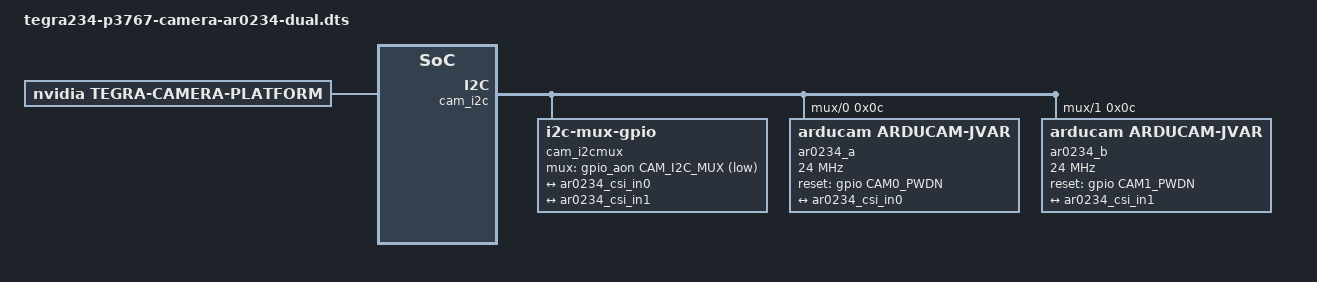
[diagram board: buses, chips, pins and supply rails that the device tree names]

/dts-v1/;
/plugin/;


#include <dt-bindings/clock/tegra234-clock.h>
#include <dt-bindings/gpio/tegra234-gpio.h>
#include <dt-bindings/gpio/gpio.h>
#include <dt-bindings/tegra234-p3767-0000-common.h>


#define CAM0_RST    TEGRA234_MAIN_GPIO(H, 3)
#define CAM0_PWDN   TEGRA234_MAIN_GPIO(H, 6)
#define CAM1_RST	TEGRA234_MAIN_GPIO(AC, 1)
#define CAM1_PWDN   TEGRA234_MAIN_GPIO(AC, 0)
#define CAM_I2C_MUX TEGRA234_AON_GPIO(CC, 3)

/ {
    overlay-name = "Dual Arducam AR0234";
    compatible = JETSON_COMPATIBLE_P3768;

    fragment@0 {
        target-path = "/";
        __overlay__ {
            tegra-capture-vi {
                num-channels = <2>;
                ports {
                    #address-cells = <1>;
                    #size-cells = <0>;
                    port@0 {
                        reg = <0>;
                        ar0234_vi_in0: endpoint {
                            port-index = <1>;
                            bus-width = <2>;
                            remote-endpoint = <&ar0234_csi_out0>;
                        };
                    };
                    port@1 {
                        reg = <1>;
                        ar0234_vi_in1: endpoint {
                            port-index = <2>;
                            bus-width = <2>;
                            remote-endpoint = <&ar0234_csi_out1>;
                        };
                    };
                };
            };

            tegra-camera-platform {
                compatible = "nvidia, tegra-camera-platform";
                modules {
                    module0 {
                        badge = "ar0234_front";
                        position = "front";
                        orientation = "0";
                        drivernode0 {
                            pcl_id = "v4l2_sensor";
                            sysfs-device-tree = "/sys/firmware/devicetree/base/bus@0/cam_i2cmux/i2c@0/ar0234_a@0c";
                        };
                    };
                    module1 {
                        badge = "ar0234_rear";
                        position = "rear";
                        orientation = "0";
                        drivernode0 {
                            pcl_id = "v4l2_sensor";
                            sysfs-device-tree = "/sys/firmware/devicetree/base/bus@0/cam_i2cmux/i2c@1/ar0234_b@0c";
                        };
                    };
                };
            };

            bus@0 {
                host1x@13e00000 {
                    nvcsi@15a00000 {
                        num-channels = <2>;
                        #address-cells = <1>;
                        #size-cells = <0>;
                        channel@0 {
                            reg = <0>;
                            ports {
                                #address-cells = <1>;
                                #size-cells = <0>;
                                port@0 {
                                    reg = <0>;
                                    ar0234_csi_in0: endpoint@0 {
                                        port-index = <1>;
                                        bus-width = <2>;
                                        remote-endpoint = <&ar0234_out0>;
                                    };
                                };
                                port@1 {
                                    reg = <1>;
                                    ar0234_csi_out0: endpoint@1 {
                                        remote-endpoint = <&ar0234_vi_in0>;
                                    };
                                };
                            };
                        };
                        channel@1 {
                            reg = <1>;
                            ports {
                                #address-cells = <1>;
                                #size-cells = <0>;
                                port@0 {
                                    reg = <0>;
                                    ar0234_csi_in1: endpoint@2 {
                                        port-index = <2>;
                                        bus-width = <2>;
                                        remote-endpoint = <&ar0234_out1>;
                                    };
                                };
                                port@1 {
                                    reg = <1>;
                                    ar0234_csi_out1: endpoint@3 {
                                        remote-endpoint = <&ar0234_vi_in1>;
                                    };
                                };
                            };
                        };
                    };
                };

                i2c@3180000 {
                    clock-frequency = <1000000>;
                };

                cam_i2cmux {
                    status = "okay";
                    compatible = "i2c-mux-gpio";
                    #address-cells = <1>;
                    #size-cells = <0>;
                    mux-gpios = <&gpio_aon CAM_I2C_MUX GPIO_ACTIVE_LOW>;
                    i2c-parent = <&cam_i2c>;
                    i2c@0 {
                        status = "okay";
                        reg = <0>;
                        #address-cells = <1>;
                        #size-cells = <0>;
                        ar0234_a: ar0234_a@0c {
                            compatible = "arducam,arducam-jvar";
                            reg = <0x0c>;
                            status = "okay";
                            channel = "0";
                            sensor_model = "arducam-jvar";
                            devnode = "video0";

                            physical_w = "5.78";
                            physical_h = "3.62";

                            reset-gpios = <&gpio CAM0_PWDN GPIO_ACTIVE_HIGH>;
                            clocks = <&bpmp TEGRA234_CLK_EXTPERIPH1>;
                            clock-names = "extperiph1";
                            clock-frequency = <24000000>;
                            mclk = "extperiph1";
                            use_sensor_mode_id = "true";
                            mode0 {
                                mclk_khz = "24000";
                                num_lanes = "2";
                                tegra_sinterface = "serial_b";
                                phy_mode = "DPHY";
                                discontinuous_clk = "no";
                                dpcm_enable = "false";
                                cil_settletime = "0";
                                lane_polarity = "6";
                                active_w = "1920";
                                active_h = "1200";
                                mode_type = "bayer";
                                pixel_phase = "grbg";
                                csi_pixel_bit_depth = "10";
                                readout_orientation = "90";
                                line_length = "2448";
                                inherent_gain = "1";
                                mclk_multiplier = "9.33";
                                pix_clk_hz = "182400000";
                                gain_factor = "16";
                                min_gain_val = "16";
                                max_gain_val = "170";
                                step_gain_val = "1";
                                default_gain = "16";
                                min_hdr_ratio = "1";
                                max_hdr_ratio = "1";
                                framerate_factor = "1000000";
                                min_framerate = "2000000";
                                max_framerate = "60000000";
                                step_framerate = "1";
                                default_framerate = "30000000";
                                exposure_factor = "1000000";
                                min_exp_time = "13";
                                max_exp_time = "683709";
                                step_exp_time = "1";
                                default_exp_time = "2495";
                                embedded_metadata_height = "0";
                            };
                            mode1 {
                                mclk_khz = "24000";
                                num_lanes = "2";
                                tegra_sinterface = "serial_b";
                                phy_mode = "DPHY";
                                discontinuous_clk = "no";
                                dpcm_enable = "false";
                                cil_settletime = "0";
                                lane_polarity = "6";
                                active_w = "1920";
                                active_h = "1080";
                                mode_type = "bayer";
                                pixel_phase = "grbg";
                                csi_pixel_bit_depth = "10";
                                readout_orientation = "90";
                                line_length = "2448";
                                inherent_gain = "1";
                                mclk_multiplier = "9.33";
                                pix_clk_hz = "182400000";
                                gain_factor = "16";
                                min_gain_val = "16";
                                max_gain_val = "170";
                                step_gain_val = "1";
                                default_gain = "16";
                                min_hdr_ratio = "1";
                                max_hdr_ratio = "1";
                                framerate_factor = "1000000";
                                min_framerate = "2000000";
                                max_framerate = "60000000";
                                step_framerate = "1";
                                default_framerate = "60000000";
                                exposure_factor = "1000000";
                                min_exp_time = "13";
                                max_exp_time = "683709";
                                step_exp_time = "1";
                                default_exp_time = "2495";
                                embedded_metadata_height = "0";
                            };
                            mode2 {
                                mclk_khz = "24000";
                                num_lanes = "2";
                                tegra_sinterface = "serial_b";
                                phy_mode = "DPHY";
                                discontinuous_clk = "no";
                                dpcm_enable = "false";
                                cil_settletime = "0";
                                lane_polarity = "6";
                                active_w = "1280";
                                active_h = "720";
                                mode_type = "bayer";
                                pixel_phase = "grbg";
                                csi_pixel_bit_depth = "10";
                                readout_orientation = "90";
                                line_length = "2448";
                                inherent_gain = "1";
                                mclk_multiplier = "9.33";
                                pix_clk_hz = "250000000";
                                gain_factor = "16";
                                min_gain_val = "16";
                                max_gain_val = "170";
                                step_gain_val = "1";
                                default_gain = "16";
                                min_hdr_ratio = "1";
                                max_hdr_ratio = "1";
                                framerate_factor = "1000000";
                                min_framerate = "2000000";
                                max_framerate = "120000000";
                                step_framerate = "1";
                                default_framerate = "120000000";
                                exposure_factor = "1000000";
                                min_exp_time = "13";
                                max_exp_time = "683709";
                                step_exp_time = "1";
                                default_exp_time = "2495";
                                embedded_metadata_height = "0";
                            };

                            ports {
                                #address-cells = <1>;
                                #size-cells = <0>;
                                port@0 {
                                    reg = <0>;
                                    ar0234_out0: endpoint {
                                        port-index = <1>;
                                        remote-endpoint = <&ar0234_csi_in0>;
                                        bus-width = <2>;
                                    };
                                };
                            };
                        };
                    };
                    i2c@1 {
                        status = "okay";
                        reg = <1>;
                        #address-cells = <1>;
                        #size-cells = <0>;
                        ar0234_b: ar0234_b@0c {
                            compatible = "arducam,arducam-jvar";
                            reg = <0x0c>;
                            status = "okay";
                            channel = "1";
                            sensor_model = "arducam-jvar";
                            devnode = "video1";

                            physical_w = "3.680";
                            physical_h = "2.760";

                            reset-gpios = <&gpio CAM1_PWDN GPIO_ACTIVE_HIGH>;
                            clocks = <&bpmp TEGRA234_CLK_EXTPERIPH1>;
                            clock-names = "extperiph1";
                            clock-frequency = <24000000>;
                            mclk = "extperiph1";
                            use_sensor_mode_id = "true";
                            mode0 {
                                mclk_khz = "24000";
                                num_lanes = "2";
                                tegra_sinterface = "serial_c";
                                phy_mode = "DPHY";
                                discontinuous_clk = "no";
                                dpcm_enable = "false";
                                cil_settletime = "0";
                                lane_polarity = "0";
                                active_w = "1920";
                                active_h = "1200";
                                mode_type = "bayer";
                                pixel_phase = "grbg";
                                csi_pixel_bit_depth = "10";
                                readout_orientation = "90";
                                line_length = "2448";
                                inherent_gain = "1";
                                mclk_multiplier = "9.33";
                                pix_clk_hz = "182400000";
                                gain_factor = "16";
                                min_gain_val = "16";
                                max_gain_val = "170";
                                step_gain_val = "1";
                                default_gain = "16";
                                min_hdr_ratio = "1";
                                max_hdr_ratio = "1";
                                framerate_factor = "1000000";
                                min_framerate = "2000000";
                                max_framerate = "60000000";
                                step_framerate = "1";
                                default_framerate = "30000000";
                                exposure_factor = "1000000";
                                min_exp_time = "13";
                                max_exp_time = "683709";
                                step_exp_time = "1";
                                default_exp_time = "2495";
                                embedded_metadata_height = "0";
                            };
                            mode1 {
                                mclk_khz = "24000";
                                num_lanes = "2";
                                tegra_sinterface = "serial_c";
                                phy_mode = "DPHY";
                                discontinuous_clk = "no";
                                dpcm_enable = "false";
                                cil_settletime = "0";
                                lane_polarity = "0";
                                active_w = "1920";
                                active_h = "1080";
                                mode_type = "bayer";
                                pixel_phase = "grbg";
                                csi_pixel_bit_depth = "10";
                                readout_orientation = "90";
                                line_length = "2448";
                                inherent_gain = "1";
                                mclk_multiplier = "9.33";
                                pix_clk_hz = "182400000";
                                gain_factor = "16";
                                min_gain_val = "16";
                                max_gain_val = "170";
                                step_gain_val = "1";
                                default_gain = "16";
                                min_hdr_ratio = "1";
                                max_hdr_ratio = "1";
                                framerate_factor = "1000000";
                                min_framerate = "2000000";
                                max_framerate = "60000000";
                                step_framerate = "1";
                                default_framerate = "60000000";
                                exposure_factor = "1000000";
                                min_exp_time = "13";
                                max_exp_time = "683709";
                                step_exp_time = "1";
                                default_exp_time = "2495";
                                embedded_metadata_height = "0";
                            };
                            mode2 {
                                mclk_khz = "24000";
                                num_lanes = "2";
                                tegra_sinterface = "serial_c";
                                phy_mode = "DPHY";
                                discontinuous_clk = "no";
                                dpcm_enable = "false";
                                cil_settletime = "0";
                                lane_polarity = "0";
                                active_w = "1280";
                                active_h = "720";
                                mode_type = "bayer";
                                pixel_phase = "grbg";
                                csi_pixel_bit_depth = "10";
                                readout_orientation = "90";
                                line_length = "2448";
                                inherent_gain = "1";
                                mclk_multiplier = "9.33";
                                pix_clk_hz = "250000000";
                                gain_factor = "16";
                                min_gain_val = "16";
                                max_gain_val = "170";
                                step_gain_val = "1";
                                default_gain = "16";
                                min_hdr_ratio = "1";
                                max_hdr_ratio = "1";
                                framerate_factor = "1000000";
                                min_framerate = "2000000";
                                max_framerate = "120000000";
                                step_framerate = "1";
                                default_framerate = "120000000";
                                exposure_factor = "1000000";
                                min_exp_time = "13";
                                max_exp_time = "683709";
                                step_exp_time = "1";
                                default_exp_time = "2495";
                                embedded_metadata_height = "0";
                            };
                            ports {
                                #address-cells = <1>;
                                #size-cells = <0>;
                                port@0 {
                                    reg = <0>;
                                    ar0234_out1: endpoint {
                                        port-index = <2>;
                                        remote-endpoint = <&ar0234_csi_in1>;
                                        bus-width = <2>;
                                    };
                                };
                            };
                        };
                    };
                };
            };
        };
    };
};
